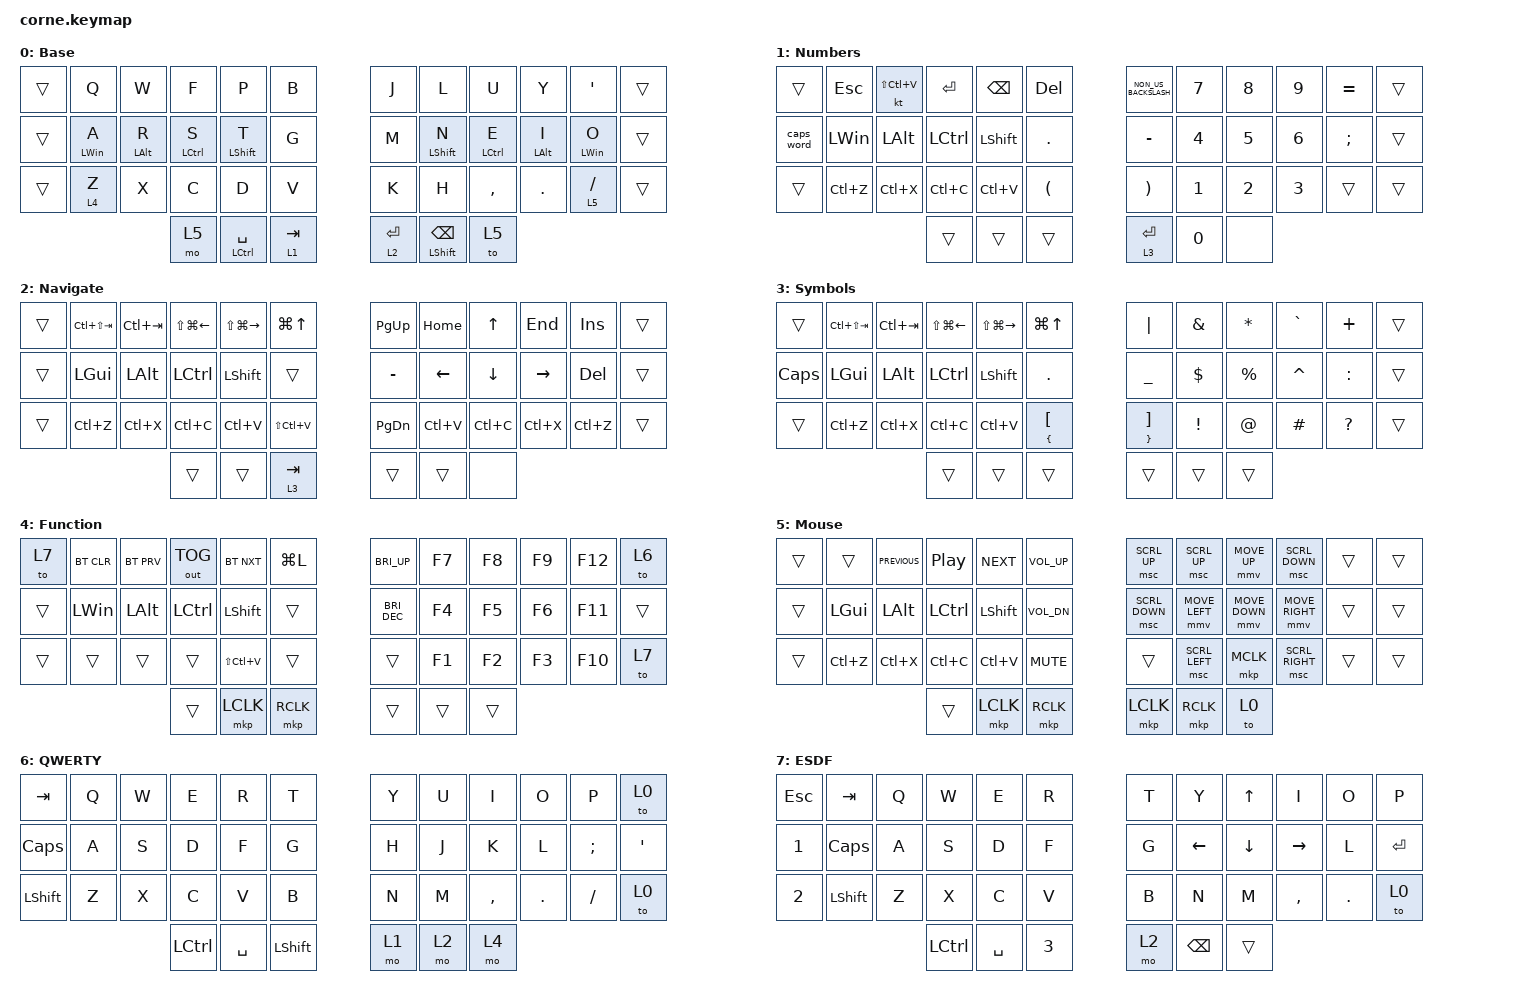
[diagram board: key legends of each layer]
/*
 * Copyright (c) 2020 The ZMK Contributors
 *
 * SPDX-License-Identifier: MIT
 */

#include <dt-bindings/zmk/mouse.h>
#include <behaviors.dtsi>
#include <dt-bindings/zmk/bt.h>
#include <dt-bindings/zmk/keys.h>
#include <dt-bindings/zmk/outputs.h>
#include <dt-bindings/zmk/pointing.h>

&mt {
    tapping-term-ms = <280>;
    flavor = "balanced";
    require-prior-idle-ms = <250>;
};

&sk { quick-release; };

/ {
    behaviors {
        hml: hml {
            compatible = "zmk,behavior-hold-tap";
            label = "HML";
            bindings = <&kp>, <&kp>;

            #binding-cells = <2>;
            tapping-term-ms = <280>;
            flavor = "balanced";
            hold-trigger-key-positions = <6 7 8 9 10 11 18 19 20 21 22 23 30 31 32 33 34 35 39 40 41 37 38 36 0 1 2 3 4 5 12 13 14 15 16 17 24 25 26 27 28 29>;
            require-prior-idle-ms = <250>;
        };

        hmr: hmr {
            compatible = "zmk,behavior-hold-tap";
            label = "HMR";
            bindings = <&kp>, <&kp>;

            #binding-cells = <2>;
            tapping-term-ms = <280>;
            flavor = "balanced";
            hold-trigger-key-positions = <0 1 2 3 4 5 12 13 14 15 16 17 24 25 26 27 28 29 37 36 38 39 40 41>;
            require-prior-idle-ms = <250>;
        };

        Hold_Pref_Layer: Hold_Pref_Layer {
            compatible = "zmk,behavior-hold-tap";
            label = "HOLD_PREF_LAYER";
            bindings = <&mo>, <&kp>;

            #binding-cells = <2>;
            tapping-term-ms = <250>;
            hold-trigger-key-positions = <0 1 2 3 4 5 6 7 8 9 10 11 12 13 14 15 16 17 18 19 20 21 22 23 24 25 26 27 28 29 30 31 32 33 34 35 36 37 38 39 40 41>;
        };

        Tap_Pref_Layer: Tap_Pref_Layer {
            compatible = "zmk,behavior-hold-tap";
            label = "TAP_PREF_LAYER";
            bindings = <&mo>, <&kp>;

            #binding-cells = <2>;
            flavor = "tap-preferred";
            hold-trigger-key-positions = <0 1 2 3 4 5 6 7 8 9 10 11 12 13 14 15 16 17 18 19 20 21 22 23 24 25 26 27 28 29 30 31 32 33 34 35 36 37 38 39 40 41>;
            tapping-term-ms = <200>;
            quick-tap-ms = <125>;
        };

        Hold_Pref_KP: Hold_Pref_KP {
            compatible = "zmk,behavior-hold-tap";
            label = "HOLD_PREF_KP";
            bindings = <&kp>, <&kp>;

            #binding-cells = <2>;
            tapping-term-ms = <250>;
            hold-trigger-key-positions = <0 1 2 3 4 5 6 7 8 9 10 12 13 14 15 16 17 18 19 20 21 22 24 25 26 27 28 29 30 31 32 33 34 36 37 38 39 40 41 35 23 11>;
        };

        Tap_Pref_KP: Tap_Pref_KP {
            compatible = "zmk,behavior-hold-tap";
            label = "TAP_PREF_KP";
            bindings = <&kp>, <&kp>;

            #binding-cells = <2>;
            tapping-term-ms = <250>;
            flavor = "tap-preferred";
            hold-trigger-key-positions = <0 1 2 3 4 5 6 7 8 9 10 11 12 13 14 15 16 17 18 19 20 21 22 23 24 25 26 27 28 29 30 31 32 33 34 35 36 37 38 39 40 41>;
        };

        Key_Toggle_Layer: Key_Toggle_Layer {
            compatible = "zmk,behavior-hold-tap";
            label = "KEY_TOGGLE_LAYER";
            bindings = <&mo>, <&kt>;

            #binding-cells = <2>;
            tapping-term-ms = <250>;
            hold-trigger-key-positions = <0 1 2 3 4 5 6 7 8 9 10 11 12 13 14 15 16 17 18 19 20 21 22 23 24 25 26 27 28 29 30 31 32 33 34 35 36 37 38 39 40 41>;
        };
    };

    combos { compatible = "zmk,combos"; };

    keymap {
        compatible = "zmk,keymap";

        default_layer {
            // -----------------------------------------------------------------------------------------
            // |  TAB |  Q  |  W  |  E  |  R  |  T  |   |  Y  |  U   |  I  |  O  |  P  | BKSP |
            // | CTRL |  A  |  S  |  D  |  F  |  G  |   |  H  |  J   |  K  |  L  |  ;  |  '   |
            // | SHFT |  Z  |  X  |  C  |  V  |  B  |   |  N  |  M   |  ,  |  .  |  /  | ESC  |
            //                    | GUI | LWR | SPC |   | ENT | RSE  | ALT |

            label = "Base";
            bindings = <
&trans  &kp Q                &kp W            &kp F         &kp P                     &kp B                     &kp J                     &kp L                               &kp U                &kp Y            &kp SQT                  &trans
&trans  &hml LEFT_WIN A      &hml LEFT_ALT R  &hml LCTRL S  &hml LEFT_SHIFT T         &kp G                     &kp M                     &hml LEFT_SHIFT N                   &hml LEFT_CONTROL E  &hml LEFT_ALT I  &hml LEFT_WIN O          &trans
&trans  &Tap_Pref_Layer 4 Z  &kp X            &kp C         &kp D                     &kp V                     &kp K                     &kp H                               &kp COMMA            &kp PERIOD       &Tap_Pref_Layer 5 SLASH  &trans
                                              &mo 5         &Tap_Pref_KP LCTRL SPACE  &Hold_Pref_Layer 1 TAB    &Hold_Pref_Layer 2 ENTER  &Hold_Pref_KP LEFT_SHIFT BACKSPACE  &to 5
            >;
        };

        Num_Layer {
            bindings = <
&trans      &kp ESCAPE    &kt LS(LC(V))  &kp ENTER  &kp BACKSPACE  &kp DELETE              &kp NON_US_BACKSLASH      &kp N7        &kp N8  &kp N9  &kp EQUAL      &trans
&caps_word  &kp LEFT_WIN  &kp LALT       &kp LCTRL  &kp LSHFT      &kp PERIOD              &kp MINUS                 &kp N4        &kp N5  &kp N6  &kp SEMICOLON  &trans
&trans      &kp LC(Z)     &kp LC(X)      &kp LC(C)  &kp LC(V)      &kp LEFT_PARENTHESIS    &kp RIGHT_PARENTHESIS     &kp NUMBER_1  &kp N2  &kp N3  &trans         &trans
                                         &trans     &trans         &trans                  &Hold_Pref_Layer 3 ENTER  &kp N0        &none
            >;

            label = "Numbers";
        };

        Nav_Layer {
            bindings = <
&trans  &kp LC(LS(TAB))  &kp LC(TAB)  &kp LS(LG(LEFT))  &kp LS(LG(RIGHT))  &kp LG(UP_ARROW)          &kp PAGE_UP    &kp HOME   &kp UP_ARROW  &kp END    &kp INSERT  &trans
&trans  &kp LGUI         &kp LALT     &kp LCTRL         &kp LSHFT          &trans                    &kp MINUS      &kp LEFT   &kp DOWN      &kp RIGHT  &kp DELETE  &trans
&trans  &kp LC(Z)        &kp LC(X)    &kp LC(C)         &kp LC(V)          &kp LS(LC(V))             &kp PAGE_DOWN  &kp LC(V)  &kp LC(C)     &kp LC(X)  &kp LC(Z)   &trans
                                      &trans            &trans             &Hold_Pref_Layer 3 TAB    &trans         &trans     &none
            >;

            label = "Navigate";
        };

        Sym_Layer {
            bindings = <
&trans    &kp LC(LS(TAB))  &kp LC(TAB)  &kp LS(LG(LEFT))  &kp LS(LG(RIGHT))  &kp LG(UP_ARROW)               &kp PIPE                       &kp AMPERSAND    &kp ASTERISK  &kp GRAVE  &kp PLUS      &trans
&kp CAPS  &kp LGUI         &kp LALT     &kp LCTRL         &kp LSHFT          &kp PERIOD                     &kp UNDER                      &kp DOLLAR       &kp PERCENT   &kp CARET  &kp COLON     &trans
&trans    &kp LC(Z)        &kp LC(X)    &kp LC(C)         &kp LC(V)          &mt LEFT_BRACE LEFT_BRACKET    &mt RIGHT_BRACE RIGHT_BRACKET  &kp EXCLAMATION  &kp AT_SIGN   &kp HASH   &kp QUESTION  &trans
                                        &trans            &trans             &trans                         &trans                         &trans           &trans
            >;

            label = "Symbols";
        };

        Fun_Layer {
            bindings = <
&to 7   &bt BT_CLR    &bt BT_PRV    &out OUT_TOG  &bt BT_NXT      &kp LG(L)    &kp C_BRI_UP   &kp F7  &kp F8  &kp F9  &kp F12  &to 6
&trans  &kp LEFT_WIN  &kp LEFT_ALT  &kp LCTRL     &kp LEFT_SHIFT  &trans       &kp C_BRI_DEC  &kp F4  &kp F5  &kp F6  &kp F11  &trans
&trans  &trans        &trans        &trans        &kp LS(LC(V))   &trans       &trans         &kp F1  &kp F2  &kp F3  &kp F10  &to 7
                                    &trans        &mkp LCLK       &mkp RCLK    &trans         &trans  &trans
            >;

            label = "Function";
        };

        Mouse {
            bindings = <
&trans  &trans     &kp C_PREVIOUS  &kp C_PLAY_PAUSE  &kp C_NEXT  &kp C_VOLUME_UP    &msc SCRL_UP    &msc SCRL_UP    &mmv MOVE_UP    &msc SCRL_DOWN   &trans  &trans
&trans  &kp LGUI   &kp LALT        &kp LCTRL         &kp LSHFT   &kp C_VOL_DN       &msc SCRL_DOWN  &mmv MOVE_LEFT  &mmv MOVE_DOWN  &mmv MOVE_RIGHT  &trans  &trans
&trans  &kp LC(Z)  &kp LC(X)       &kp LC(C)         &kp LC(V)   &kp C_MUTE         &trans          &msc SCRL_LEFT  &mkp MCLK       &msc SCRL_RIGHT  &trans  &trans
                                   &trans            &mkp LCLK   &mkp RCLK          &mkp LCLK       &mkp RCLK       &to 0
            >;

            label = "Mouse";
        };

        QWERTY {
            bindings = <
&kp TAB    &kp Q  &kp W  &kp E      &kp R      &kp T             &kp Y  &kp U  &kp I      &kp O    &kp P     &to 0
&kp CAPS   &kp A  &kp S  &kp D      &kp F      &kp G             &kp H  &kp J  &kp K      &kp L    &kp SEMI  &kp APOS
&kp LSHFT  &kp Z  &kp X  &kp C      &kp V      &kp B             &kp N  &kp M  &kp COMMA  &kp DOT  &kp FSLH  &to 0
                         &kp LCTRL  &kp SPACE  &kp LEFT_SHIFT    &mo 1  &mo 2  &mo 4
            >;

            label = "QWERTY";
        };

        ESDF {
            bindings = <
&kp ESCAPE    &kp TAB         &kp Q  &kp W      &kp E      &kp R           &kp T  &kp Y     &kp UP_ARROW  &kp I      &kp O    &kp P
&kp NUMBER_1  &kp CAPSLOCK    &kp A  &kp S      &kp D      &kp F           &kp G  &kp LEFT  &kp DOWN      &kp RIGHT  &kp L    &kp ENTER
&kp NUMBER_2  &kp LEFT_SHIFT  &kp Z  &kp X      &kp C      &kp V           &kp B  &kp N     &kp M         &kp COMMA  &kp DOT  &to 0
                                     &kp LCTRL  &kp SPACE  &kp NUMBER_3    &mo 2  &kp BSPC  &trans
            >;

            label = "ESDF";
        };
    };
};
